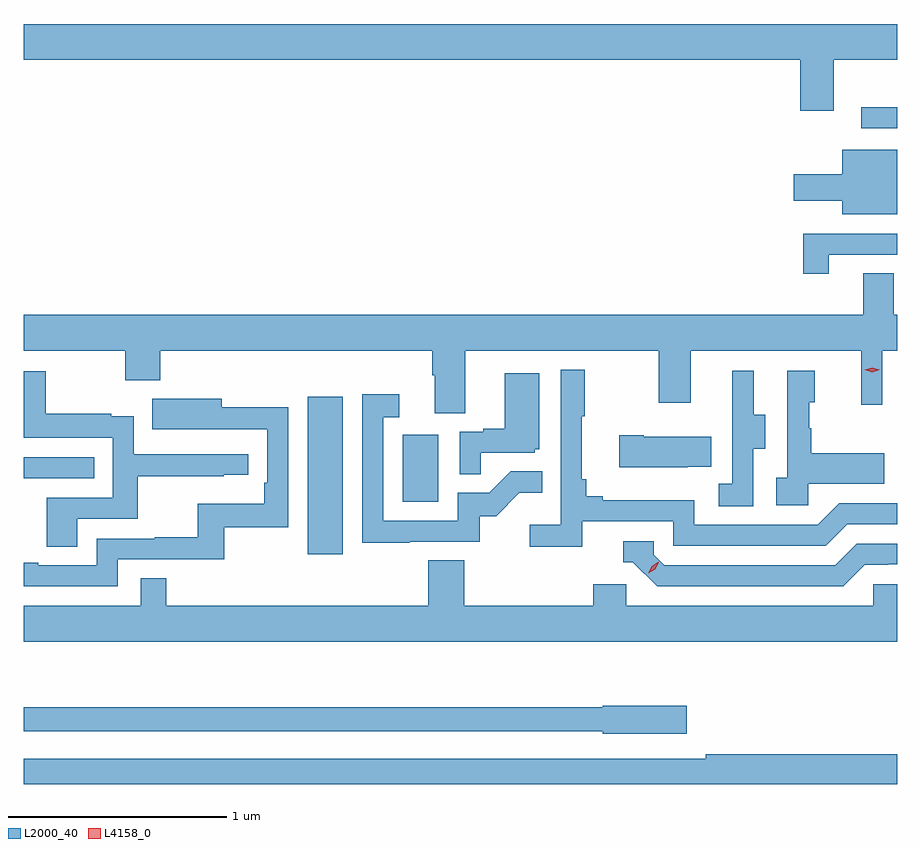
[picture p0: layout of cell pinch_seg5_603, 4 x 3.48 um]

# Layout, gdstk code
import gdstk
lib = gdstk.Library(unit=1e-6, precision=1e-09)
def R(c, l, rs):  # rectangles x0, y0, x1, y1
    for r in rs: c.add(gdstk.rectangle(r[:2], r[2:], *l))
def P(c, l, *ps):  # polygons
    for p in ps: c.add(gdstk.Polygon(p, *l))
L2000_40 = (2000, 40)
L4158_0 = (4158, 0)

pinch_seg5_603 = lib.new_cell('pinch_seg5_603')
R(pinch_seg5_603, L2000_40, [(1044.893,855.828,1045.054,856.549), (1045.328,856.068,1045.492,856.375), (1043.593,856.176,1043.915,856.272), (1047.429,857.778,1047.593,857.874)])
P(pinch_seg5_603, L2000_40, [(1047.301,858.092),(1047.593,858.092),(1047.593,858.256),(1043.593,858.256),(1043.593,858.092),(1047.149,858.092),(1047.149,857.859),(1047.301,857.859)],
  [(1047.593,857.68),(1047.341,857.68),(1047.341,857.569),(1047.12,857.569),(1047.12,857.447),(1047.341,857.447),(1047.341,857.384),(1047.593,857.384)],
  [(1047.28,857.199),(1047.593,857.199),(1047.593,857.295),(1047.163,857.295),(1047.163,857.112),(1047.28,857.112)],
  [(1045.615,856.76),(1046.5,856.76),(1046.5,856.521),(1046.647,856.521),(1046.647,856.76),(1047.428,856.76),(1047.428,856.512),(1047.525,856.512),(1047.525,856.76),(1047.593,856.76),(1047.593,856.924),(1047.577,856.924),(1047.577,857.114),(1047.437,857.114),(1047.437,856.924),(1043.593,856.924),(1043.593,856.76),(1044.058,856.76),(1044.058,856.625),(1044.218,856.625),(1044.218,856.76),(1045.463,856.76),(1045.463,856.648),(1045.475,856.648),(1045.475,856.474),(1045.615,856.474)],
  [(1046.15,855.978),(1046.568,855.978),(1046.568,855.867),(1047.265,855.867),(1047.364,855.966),(1047.593,855.966),(1047.593,856.062),(1047.327,856.062),(1047.228,855.963),(1046.664,855.963),(1046.664,856.075),(1046.245,856.075),(1046.245,856.094),(1046.168,856.094),(1046.168,856.171),(1046.149,856.171),(1046.149,856.459),(1046.161,856.459),(1046.161,856.672),(1046.052,856.672),(1046.052,855.964),(1045.911,855.964),(1045.911,855.862),(1046.15,855.862)],
  [(1046.934,856.312),(1046.989,856.312),(1046.989,856.467),(1046.935,856.467),(1046.935,856.669),(1046.837,856.669),(1046.837,856.455),(1046.838,856.455),(1046.838,856.151),(1046.775,856.151),(1046.775,856.048),(1046.934,856.048)],
  [(1047.186,856.151),(1047.533,856.151),(1047.533,856.291),(1047.199,856.291),(1047.199,856.406),(1047.189,856.406),(1047.189,856.524),(1047.214,856.524),(1047.214,856.669),(1047.09,856.669),(1047.09,856.178),(1047.039,856.178),(1047.039,856.053),(1047.186,856.053)],
  [(1043.839,855.99),(1044.116,855.99),(1044.116,856.186),(1044.509,856.186),(1044.509,856.191),(1044.622,856.191),(1044.622,856.287),(1044.096,856.287),(1044.096,856.459),(1043.993,856.459),(1043.993,856.471),(1043.695,856.471),(1043.695,856.665),(1043.593,856.665),(1043.593,856.362),(1044,856.362),(1044,856.086),(1043.699,856.086),(1043.699,855.862),(1043.839,855.862)],
  [(1045.685,856.293),(1045.932,856.293),(1045.932,856.308),(1045.954,856.308),(1045.954,856.657),(1045.796,856.657),(1045.796,856.402),(1045.697,856.402),(1045.697,856.389),(1045.59,856.389),(1045.59,856.195),(1045.685,856.195)],
  [(1045.361,855.885),(1045.68,855.885),(1045.68,856.002),(1045.756,856.002),(1045.863,856.109),(1045.967,856.109),(1045.967,856.208),(1045.823,856.208),(1045.725,856.11),(1045.581,856.11),(1045.581,855.981),(1045.239,855.981),(1045.239,856.455),(1045.312,856.455),(1045.312,856.561),(1045.143,856.561),(1045.143,855.88),(1045.361,855.88)],
  [(1044.024,855.804),(1044.511,855.804),(1044.511,855.951),(1044.804,855.951),(1044.804,856.502),(1044.499,856.502),(1044.499,856.54),(1044.181,856.54),(1044.181,856.4),(1044.395,856.4),(1044.395,856.401),(1044.708,856.401),(1044.708,856.156),(1044.695,856.156),(1044.695,856.06),(1044.39,856.06),(1044.39,855.905),(1044.193,855.905),(1044.193,855.9),(1043.928,855.9),(1043.928,855.777),(1043.659,855.777),(1043.659,855.79),(1043.593,855.79),(1043.593,855.681),(1044.024,855.681)],
  [(1046.633,856.229),(1046.741,856.229),(1046.741,856.366),(1046.431,856.366),(1046.431,856.374),(1046.319,856.374),(1046.319,856.226),(1046.633,856.226)],
  [(1047.445,855.78),(1047.552,855.78),(1047.552,855.783),(1047.593,855.783),(1047.593,855.876),(1047.408,855.876),(1047.309,855.777),(1046.526,855.777),(1046.478,855.825),(1046.478,855.888),(1046.339,855.888),(1046.339,855.792),(1046.382,855.792),(1046.493,855.681),(1047.346,855.681)],
  [(1047.593,855.69),(1047.483,855.69),(1047.483,855.592),(1046.352,855.592),(1046.352,855.69),(1046.201,855.69),(1046.201,855.592),(1045.61,855.592),(1045.61,855.8),(1045.445,855.8),(1045.445,855.592),(1044.245,855.592),(1044.245,855.719),(1044.129,855.719),(1044.129,855.592),(1043.593,855.592),(1043.593,855.428),(1047.593,855.428)],
  [(1046.629,855.135),(1046.244,855.135),(1046.244,855.127),(1043.593,855.127),(1043.593,855.018),(1046.244,855.018),(1046.244,855.005),(1046.629,855.005)],
  [(1047.593,854.912),(1046.716,854.912),(1046.716,854.892),(1043.593,854.892),(1043.593,854.776),(1047.593,854.776)])
P(pinch_seg5_603, L4158_0, [(1046.453,855.74),(1046.453,855.741),(1046.469,855.773),(1046.5,855.793),(1046.5,855.793),(1046.5,855.792),(1046.484,855.76),(1046.453,855.74)],
  [(1047.478,856.662),(1047.443,856.672),(1047.443,856.672),(1047.443,856.672),(1047.478,856.682),(1047.513,856.672),(1047.513,856.672),(1047.513,856.672)])

lib.write_gds('pinch_seg5_603.gds')
